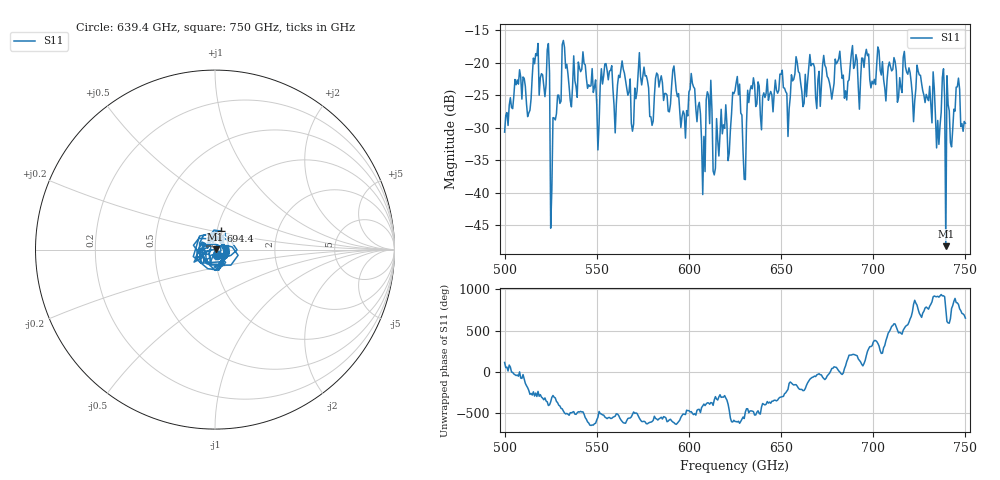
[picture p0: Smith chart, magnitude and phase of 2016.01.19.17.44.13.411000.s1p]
!Created with skrf (http://scikit-rf.org).
# GHz S RI R 50.0
!freq ReS11 ImS11
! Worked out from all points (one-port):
!   401 points, 500 GHz to 750 GHz, reference 50 ohm
!   lowest |S11| = -48.2 dB at 739.4 GHz (marker M1), VSWR 1.01, Z = 50.3 + j0.234 ohm
!   |S11| at or under -10 dB: start of sweep to end of sweep
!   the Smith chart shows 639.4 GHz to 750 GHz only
!   S11 on the Smith chart (normalised r, x): 639.4 GHz: 1.02, -0.06; 694.4 GHz: 1.04, +0.22; 750 GHz: 1.02, -0.07
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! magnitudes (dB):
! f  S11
! 500 GHz  -30.6
! 506.9 GHz  -22.6
! 513.1 GHz  -27.7
! 516.9 GHz  -18.6
! 523.1 GHz  -18.0
! 526.2 GHz  -28.4
! 531.2 GHz  -17.2
! 550 GHz  -26.5
! 562.5 GHz  -22.3
! 570 GHz  -29.4
! 574.4 GHz  -23.4
! 580 GHz  -29.6
! 583.1 GHz  -21.8
! 593.8 GHz  -25.2
! 601.9 GHz  -23.1
! 607.5 GHz  -40.2
! 610.6 GHz  -25.0
! 614.4 GHz  -36.2
! 625 GHz  -24.3
! 630 GHz  -37.9
! 633.1 GHz  -24.3
! 639.4 GHz  -30.3
! 656.2 GHz  -22.8
! 687.5 GHz  -20.5
! 694.4 GHz  -19.3
! 718.8 GHz  -21.8
! 739.4 GHz  -48.2
! 750 GHz  -29.3
